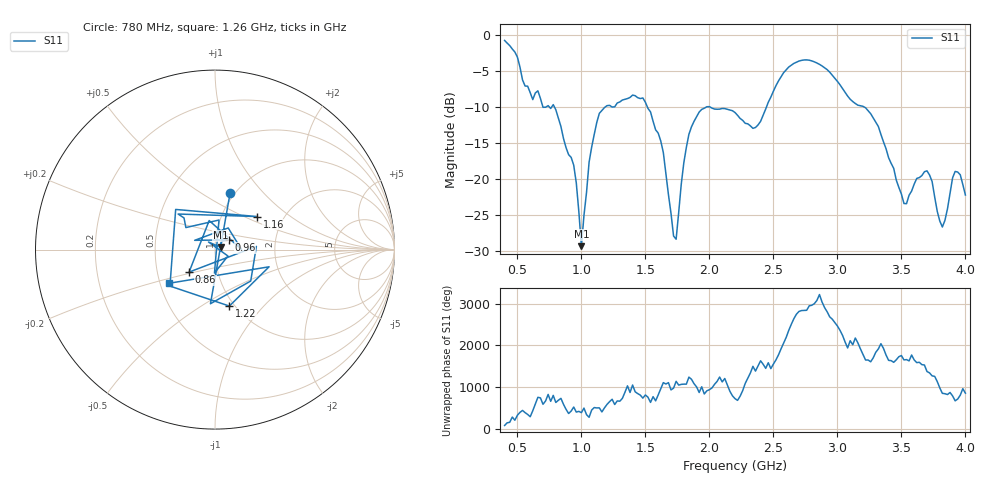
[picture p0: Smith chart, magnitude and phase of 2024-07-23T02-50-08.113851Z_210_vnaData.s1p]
!Created with skrf (http://scikit-rf.org).
# Hz S RI R 50.0
!freq ReS11 ImS11
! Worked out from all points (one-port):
!   181 points, 400 MHz to 4 GHz, reference 50 ohm
!   lowest |S11| = -29.3 dB at 1 GHz (marker M1), VSWR 1.07, Z = 53.3 + j1.34 ohm
!   |S11| at or under -10 dB: 1.515 GHz to 1.977 GHz (461.1 MHz wide, 26.4 % of centre); 2.005 GHz to 2.446 GHz (441.1 MHz wide, 19.8 % of centre); 3.209 GHz to end of sweep (the widest 3 of 7)
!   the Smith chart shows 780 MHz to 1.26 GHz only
!   S11 on the Smith chart (normalised r, x): 780 MHz: 0.95, +0.68; 860 MHz: 0.73, -0.19; 960 MHz: 1.16, +0.13; 1.16 GHz: 1.47, +0.60; 1.22 GHz: 0.95, -0.67; 1.26 GHz: 0.56, -0.23
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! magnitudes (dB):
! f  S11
! 400 MHz  -0.8
! 620 MHz  -9.0
! 780 MHz  -9.7
! 860 MHz  -14.4
! 960 MHz  -20.5
! 1 GHz  -29.3
! 1.06 GHz  -17.7
! 1.16 GHz  -10.5
! 1.22 GHz  -9.8
! 1.26 GHz  -10.0
! 1.3 GHz  -9.3
! 1.5 GHz  -9.3
! 1.64 GHz  -16.3
! 1.72 GHz  -27.9
! 1.76 GHz  -24.7
! 1.82 GHz  -15.6
! 1.9 GHz  -11.3
! 2.2 GHz  -10.8
! 2.36 GHz  -12.8
! 2.66 GHz  -3.9
! 3.1 GHz  -8.9
! 3.3 GHz  -12.1
! 3.52 GHz  -23.4
! 3.56 GHz  -22.3
! 3.7 GHz  -18.9
! 3.82 GHz  -26.7
! 3.92 GHz  -19.0
! 4 GHz  -22.2
